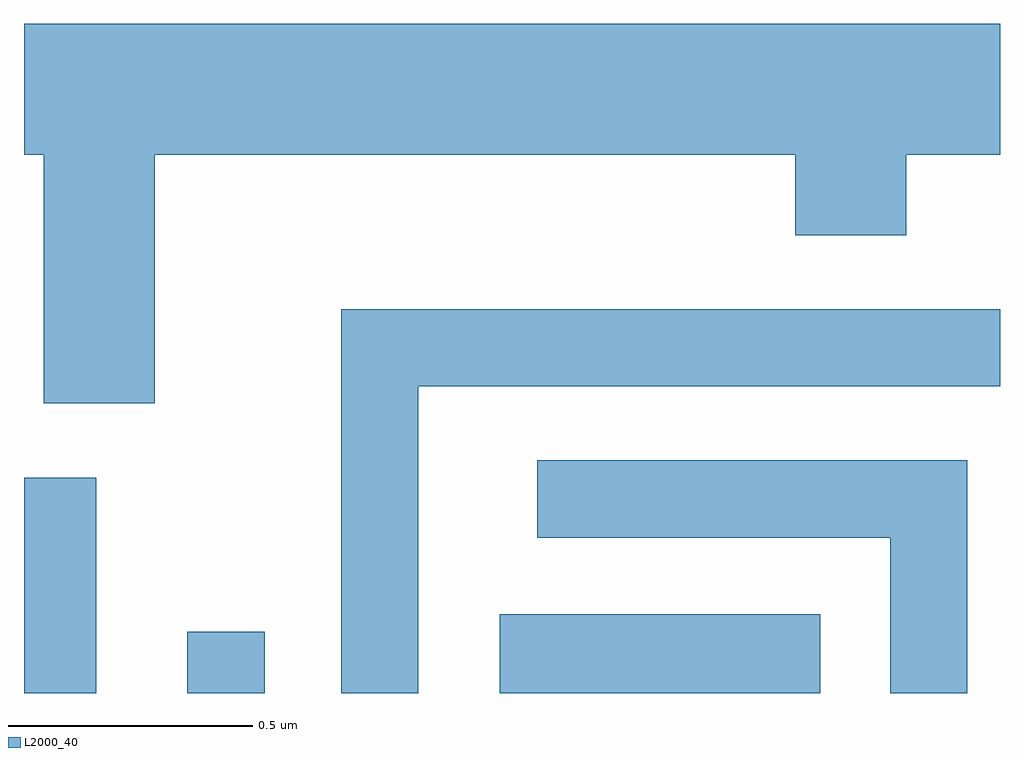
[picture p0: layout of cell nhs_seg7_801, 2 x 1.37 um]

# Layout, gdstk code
import gdstk
lib = gdstk.Library(unit=1e-6, precision=1e-09)
def R(c, l, rs):  # rectangles x0, y0, x1, y1
    for r in rs: c.add(gdstk.rectangle(r[:2], r[2:], *l))
def P(c, l, *ps):  # polygons
    for p in ps: c.add(gdstk.Polygon(p, *l))
L2000_40 = (2000, 40)

nhs_seg7_801 = lib.new_cell('nhs_seg7_801')
R(nhs_seg7_801, L2000_40, [(190.611,1784.252,190.759,1784.694), (190.946,1784.252,191.104,1784.378), (191.586,1784.252,192.243,1784.414)])
P(nhs_seg7_801, L2000_40, [(190.879,1785.356),(192.191,1785.356),(192.191,1785.191),(192.419,1785.191),(192.419,1785.356),(192.611,1785.356),(192.611,1785.624),(190.611,1785.624),(190.611,1785.356),(190.651,1785.356),(190.651,1784.846),(190.879,1784.846)],
  [(191.419,1784.881),(192.611,1784.881),(192.611,1785.039),(191.261,1785.039),(191.261,1784.252),(191.419,1784.252)],
  [(192.544,1784.729),(191.663,1784.729),(191.663,1784.571),(192.386,1784.571),(192.386,1784.252),(192.544,1784.252)])

lib.write_gds('nhs_seg7_801.gds')
